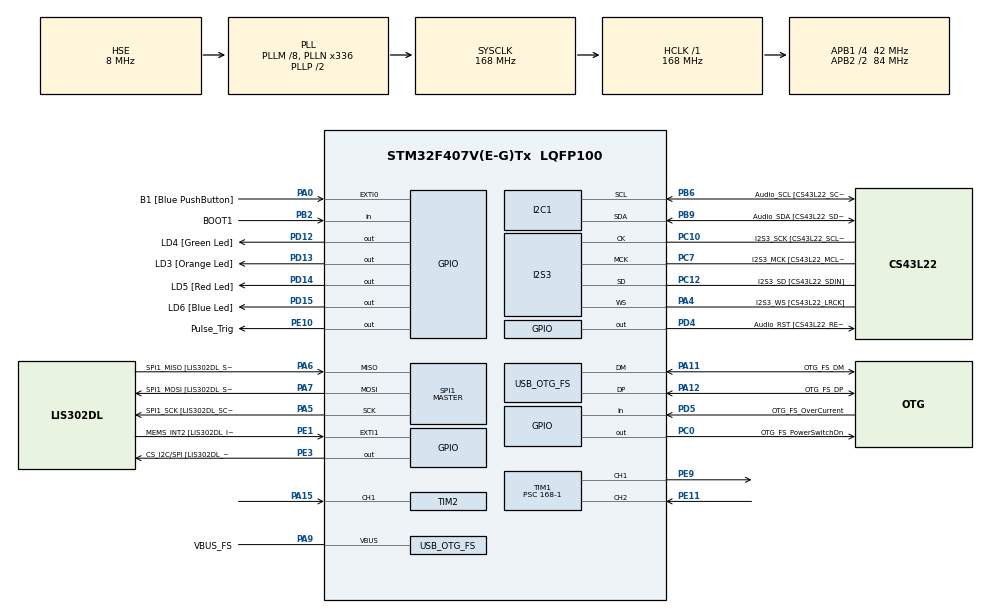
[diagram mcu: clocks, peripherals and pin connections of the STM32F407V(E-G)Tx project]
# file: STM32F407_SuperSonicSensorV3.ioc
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I2S3.AudioFreq-Half_Duplex_Master=I2S_AUDIOFREQ_96K
I2S3.ErrorAudioFreq=-2.34 %
I2S3.ErrorAudioFreq-Half_Duplex_Master=0.8 %
I2S3.FullDuplexMode=I2S_FULLDUPLEXMODE_DISABLE
I2S3.Instance=SPI$Index
I2S3.RealAudioFreq=93.75 KHz
I2S3.RealAudioFreq-Half_Duplex_Master=96.774 KHz
I2S3.VirtualMode=I2S_MODE_MASTER
Mcu.Family=STM32F4
Mcu.Name=STM32F407V(E-G)Tx
Mcu.Package=LQFP100
NVIC.OTG_FS_IRQn=true\:0\:0\:false\:false\:true\:true\:true\:true
NVIC.PriorityGroup=NVIC_PRIORITYGROUP_0
NVIC.TIM2_IRQn=true\:0\:0\:false\:false\:true\:true\:true\:true
PA0-WKUP.GPIO_Label=B1 [Blue PushButton]
PA0-WKUP.GPIO_ModeDefaultEXTI=GPIO_MODE_EVT_RISING
PA0-WKUP.GPIO_PuPd=GPIO_NOPULL
PA0-WKUP.Signal=GPXTI0
PA10.GPIO_Label=OTG_FS_ID
PA10.GPIO_Mode=GPIO_MODE_AF_PP
PA10.GPIO_PuPd=GPIO_NOPULL
PA10.GPIO_Speed=GPIO_SPEED_FREQ_LOW
PA10.Signal=USB_OTG_FS_ID
PA11.GPIO_Label=OTG_FS_DM
PA11.GPIO_Mode=GPIO_MODE_AF_PP
PA11.GPIO_PuPd=GPIO_NOPULL
PA11.GPIO_Speed=GPIO_SPEED_FREQ_LOW
PA11.Mode=Host_Only
PA11.Signal=USB_OTG_FS_DM
PA12.GPIO_Label=OTG_FS_DP
PA12.GPIO_Mode=GPIO_MODE_AF_PP
PA12.GPIO_PuPd=GPIO_NOPULL
PA12.GPIO_Speed=GPIO_SPEED_FREQ_LOW
PA12.Mode=Host_Only
PA12.Signal=USB_OTG_FS_DP
PA13.GPIO_Label=SWDIO
PA13.Mode=Serial_Wire
PA13.Signal=SYS_JTMS-SWDIO
PA14.GPIO_Label=SWCLK
PA14.Mode=Serial_Wire
PA14.Signal=SYS_JTCK-SWCLK
PA15.Signal=S_TIM2_CH1_ETR
PA4.GPIO_Label=I2S3_WS [CS43L22_LRCK]
PA4.GPIO_Mode=GPIO_MODE_AF_PP
PA4.GPIO_PuPd=GPIO_NOPULL
PA4.GPIO_Speed=GPIO_SPEED_FREQ_LOW
PA4.Mode=Half_Duplex_Master
PA4.Signal=I2S3_WS
PA5.GPIO_Label=SPI1_SCK [LIS302DL_SCL/SPC]
PA5.GPIO_Mode=GPIO_MODE_AF_PP
PA5.GPIO_PuPd=GPIO_NOPULL
PA5.GPIO_Speed=GPIO_SPEED_FREQ_LOW
PA5.Mode=Full_Duplex_Master
PA5.Signal=SPI1_SCK
PA6.GPIO_Label=SPI1_MISO [LIS302DL_SDO]
PA6.GPIO_Mode=GPIO_MODE_AF_PP
PA6.GPIO_PuPd=GPIO_NOPULL
PA6.GPIO_Speed=GPIO_SPEED_FREQ_LOW
PA6.Mode=Full_Duplex_Master
PA6.Signal=SPI1_MISO
PA7.GPIO_Label=SPI1_MOSI [LIS302DL_SDA/SDI/SDO]
PA7.GPIO_Mode=GPIO_MODE_AF_PP
PA7.GPIO_PuPd=GPIO_NOPULL
PA7.GPIO_Speed=GPIO_SPEED_FREQ_LOW
PA7.Mode=Full_Duplex_Master
PA7.Signal=SPI1_MOSI
PA9.GPIO_Label=VBUS_FS
PA9.GPIO_Mode=GPIO_MODE_INPUT
PA9.GPIO_PuPd=GPIO_NOPULL
PA9.Mode=Activate_VBUS
PA9.Signal=USB_OTG_FS_VBUS
PB10.GPIO_Label=CLK_IN [MP45DT02_CLK]
PB10.GPIO_Mode=GPIO_MODE_AF_PP
PB10.GPIO_PuPd=GPIO_NOPULL
PB10.GPIO_Speed=GPIO_SPEED_FREQ_LOW
PB10.Signal=I2S2_CK
PB2.GPIO_Label=BOOT1
PB2.GPIO_Mode=GPIO_MODE_INPUT
PB2.GPIO_PuPd=GPIO_NOPULL
PB2.Signal=GPIO_Input
PB3.GPIO_Label=SWO
PB3.Signal=SYS_JTDO-SWO
PB6.GPIO_Label=Audio_SCL [CS43L22_SCL]
PB6.GPIO_Mode=GPIO_MODE_AF_OD
PB6.GPIO_Pu=GPIO_PULLUP
PB6.GPIO_PuPd=GPIO_NOPULL
PB6.GPIO_Speed=GPIO_SPEED_FREQ_LOW
PB6.Mode=I2C
PB6.Signal=I2C1_SCL
PB9.GPIO_Label=Audio_SDA [CS43L22_SDA]
PB9.GPIO_Mode=GPIO_MODE_AF_OD
PB9.GPIO_Pu=GPIO_PULLUP
PB9.GPIO_PuPd=GPIO_NOPULL
PB9.GPIO_Speed=GPIO_SPEED_FREQ_LOW
PB9.Mode=I2C
PB9.Signal=I2C1_SDA
PC0.GPIO_Label=OTG_FS_PowerSwitchOn
PC0.GPIO_PuPd=GPIO_NOPULL
PC0.GPIO_Speed=GPIO_SPEED_FREQ_LOW
PC0.PinState=GPIO_PIN_SET
PC0.Signal=GPIO_Output
PC10.GPIO_Label=I2S3_SCK [CS43L22_SCLK]
PC10.GPIO_Mode=GPIO_MODE_AF_PP
PC10.GPIO_PuPd=GPIO_NOPULL
PC10.GPIO_Speed=GPIO_SPEED_FREQ_LOW
PC10.Mode=Half_Duplex_Master
PC10.Signal=I2S3_CK
PC12.GPIO_Label=I2S3_SD [CS43L22_SDIN]
PC12.GPIO_Mode=GPIO_MODE_AF_PP
PC12.GPIO_PuPd=GPIO_NOPULL
PC12.GPIO_Speed=GPIO_SPEED_FREQ_LOW
PC12.Mode=Half_Duplex_Master
PC12.Signal=I2S3_SD
PC14-OSC32_IN.GPIO_Label=PC14-OSC32_IN
PC14-OSC32_IN.Mode=LSE-External-Oscillator
PC14-OSC32_IN.Signal=RCC_OSC32_IN
PC15-OSC32_OUT.GPIO_Label=PC15-OSC32_OUT
PC15-OSC32_OUT.Mode=LSE-External-Oscillator
PC15-OSC32_OUT.Signal=RCC_OSC32_OUT
PC3.GPIO_Label=PDM_OUT [MP45DT02_DOUT]
PC3.GPIO_Mode=GPIO_MODE_AF_PP
PC3.GPIO_PuPd=GPIO_NOPULL
PC3.GPIO_Speed=GPIO_SPEED_FREQ_LOW
PC3.Signal=I2S2_SD
PC7.GPIO_Label=I2S3_MCK [CS43L22_MCLK]
PC7.GPIO_Mode=GPIO_MODE_AF_PP
PC7.GPIO_PuPd=GPIO_NOPULL
PC7.GPIO_Speed=GPIO_SPEED_FREQ_LOW
PC7.Mode=Master_Clock_Activated
PC7.Signal=I2S3_MCK
PD12.GPIO_Label=LD4 [Green Led]
PD12.GPIO_PuPd=GPIO_NOPULL
PD12.GPIO_Speed=GPIO_SPEED_FREQ_LOW
PD12.Signal=GPIO_Output
PD13.GPIO_Label=LD3 [Orange Led]
PD13.GPIO_PuPd=GPIO_NOPULL
PD13.GPIO_Speed=GPIO_SPEED_FREQ_LOW
PD13.Signal=GPIO_Output
PD14.GPIO_Label=LD5 [Red Led]
PD14.GPIO_PuPd=GPIO_NOPULL
PD14.GPIO_Speed=GPIO_SPEED_FREQ_LOW
PD14.Signal=GPIO_Output
PD15.GPIO_Label=LD6 [Blue Led]
PD15.GPIO_PuPd=GPIO_NOPULL
PD15.GPIO_Speed=GPIO_SPEED_FREQ_LOW
PD15.Signal=GPIO_Output
PD4.GPIO_Label=Audio_RST [CS43L22_RESET]
PD4.GPIO_PuPd=GPIO_NOPULL
PD4.GPIO_Speed=GPIO_SPEED_FREQ_LOW
PD4.Signal=GPIO_Output
PD5.GPIO_Label=OTG_FS_OverCurrent
PD5.GPIO_Mode=GPIO_MODE_INPUT
PD5.GPIO_PuPd=GPIO_NOPULL
PD5.Signal=GPIO_Input
PE1.GPIO_Label=MEMS_INT2 [LIS302DL_INT2]
PE1.GPIO_ModeDefaultEXTI=GPIO_MODE_EVT_RISING
PE1.GPIO_PuPd=GPIO_NOPULL
PE1.Signal=GPXTI1
PE10.GPIO_Label=Pulse_Trig
PE10.Signal=GPIO_Output
PE11.Signal=S_TIM1_CH2
PE3.GPIO_Label=CS_I2C/SPI [LIS302DL_CS_I2C/SPI]
PE3.GPIO_PuPd=GPIO_NOPULL
PE3.GPIO_Speed=GPIO_SPEED_FREQ_LOW
PE3.Signal=GPIO_Output
PE9.Signal=S_TIM1_CH1
PH0-OSC_IN.GPIO_Label=PH0-OSC_IN
PH0-OSC_IN.Mode=HSE-External-Oscillator
PH0-OSC_IN.Signal=RCC_OSC_IN
PH1-OSC_OUT.GPIO_Label=PH1-OSC_OUT
PH1-OSC_OUT.Mode=HSE-External-Oscillator
PH1-OSC_OUT.Signal=RCC_OSC_OUT
ProjectManager.HeapSize=0x200
ProjectManager.StackSize=0x400
ProjectManager.TargetToolchain=STM32CubeIDE
RCC.48MHZClocksFreq_Value=48000000
RCC.AHBFreq_Value=168000000
RCC.APB1CLKDivider=RCC_HCLK_DIV4
RCC.APB1Freq_Value=42000000
RCC.APB1TimFreq_Value=84000000
RCC.APB2CLKDivider=RCC_HCLK_DIV2
RCC.APB2Freq_Value=84000000
RCC.APB2TimFreq_Value=168000000
RCC.CortexFreq_Value=168000000
RCC.HCLKFreq_Value=168000000
RCC.HSE_VALUE=8000000
RCC.HSI_VALUE=16000000
RCC.PLLM=8
RCC.PLLN=336
RCC.PLLQ=7
RCC.SYSCLKFreq_VALUE=168000000
RCC.SYSCLKSource=RCC_SYSCLKSOURCE_PLLCLK
RCC.VCOOutputFreq_Value=336000000
SH.S_TIM1_CH1.0=TIM1_CH1,PWM Generation1 CH1
SH.S_TIM1_CH2.0=TIM1_CH2,TriggerSource_TI2FP2
SH.S_TIM2_CH1_ETR.0=TIM2_CH1,Input_Capture1_from_TI1
SPI1.BaudRatePrescaler-Full_Duplex_Master=SPI_BAUDRATEPRESCALER_2
SPI1.CalculateBaudRate-Full_Duplex_Master=42.0 MBits/s
SPI1.Direction=SPI_DIRECTION_2LINES
SPI1.Mode=SPI_MODE_MASTER
SPI1.Mode-Full_Duplex_Master=SPI_MODE_MASTER
SPI1.VirtualType=VM_MASTER
TIM1.Channel-PWM\ Generation1\ CH1=TIM_CHANNEL_1
TIM1.OCMode_PWM-PWM\ Generation1\ CH1=TIM_OCMODE_PWM2
TIM1.Period=50000-1
TIM1.Prescaler=168-1
TIM2.Channel-Input_Capture1_from_TI1=TIM_CHANNEL_1
TIM2.ICPolarity_CH1=TIM_INPUTCHANNELPOLARITY_BOTHEDGE
TIM2.Prescaler=83
USB_HOST.BSP.number=1
USB_HOST.USBH_HandleTypeDef-CDC_FS=hUsbHostFS
USB_HOST.VirtualModeFS=Cdc
USB_HOST0.BSP.STBoard=false
USB_HOST0.BSP.api=Unknown
USB_HOST0.BSP.instance=PC0
USB_HOST0.BSP.ip=GPIO
USB_HOST0.BSP.mode=Output
USB_HOST0.BSP.name=Drive_VBUS_FS
USB_HOST0.BSP.solution=PC0
USB_OTG_FS.VirtualMode=Host_Only
USB_OTG_FS.phy_itface=HCD_PHY_EMBEDDED
VP_TIM1_VS_ControllerModeTrigger.Mode=Trigger Mode
VP_TIM1_VS_OPM.Mode=OPM_bit
VP_USB_HOST_VS_USB_HOST_CDC_FS.Mode=CDC_FS
board=STM32F407G-DISC1

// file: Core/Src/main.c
/* USER CODE BEGIN Header */
/**
  ******************************************************************************
  * @file           : main.c
  * @brief          : Main program body
  ******************************************************************************
  * @attention
  *
  * Copyright (c) 2025 STMicroelectronics.
  * All rights reserved.
  *
  * This software is licensed under terms that can be found in the LICENSE file
  * in the root directory of this software component.
  * If no LICENSE file comes with this software, it is provided AS-IS.
  *
  ******************************************************************************
  */
/* USER CODE END Header */
#include "main.h"
#include "usb_host.h"

I2C_HandleTypeDef hi2c1;

I2S_HandleTypeDef hi2s3;

SPI_HandleTypeDef hspi1;

TIM_HandleTypeDef htim1;
TIM_HandleTypeDef htim2;

/* USER CODE BEGIN PV */
uint32_t gCaptureValue1 = 0;
uint32_t gCaptureValue2 = 0;
uint32_t gPeriod = 0;
uint8_t gCaptureFlag=0;
float gDistance = 0;
/* USER CODE END PV */

void SystemClock_Config(void);
static void MX_GPIO_Init(void);
static void MX_I2C1_Init(void);
static void MX_I2S3_Init(void);
static void MX_SPI1_Init(void);
static void MX_TIM1_Init(void);
static void MX_TIM2_Init(void);
void MX_USB_HOST_Process(void);

int main(void)
{

  /* MCU Configuration--------------------------------------------------------*/

  /* Reset of all peripherals, Initializes the Flash interface and the Systick. */
  HAL_Init();

  /* Configure the system clock */
  SystemClock_Config();

  /* Initialize all configured peripherals */
  MX_GPIO_Init();
  MX_I2C1_Init();
  MX_I2S3_Init();
  MX_SPI1_Init();
  MX_USB_HOST_Init();
  MX_TIM1_Init();
  MX_TIM2_Init();
  /* USER CODE BEGIN 2 */
HAL_TIM_IC_Start_IT(&htim2, TIM_CHANNEL_1);
HAL_TIM_OnePulse_Start(&htim1, TIM_CHANNEL_1);

HAL_GPIO_WritePin(Pulse_Trig_GPIO_Port, Pulse_Trig_Pin, GPIO_PIN_RESET);
HAL_Delay(1000);
HAL_GPIO_WritePin(Pulse_Trig_GPIO_Port, Pulse_Trig_Pin, GPIO_PIN_SET);

  /* USER CODE END 2 */

  /* Infinite loop */
  /* USER CODE BEGIN WHILE */
  while (1)
  {
	  HAL_GPIO_WritePin(Pulse_Trig_GPIO_Port, Pulse_Trig_Pin, GPIO_PIN_RESET);
	  HAL_Delay(1000);
	  HAL_GPIO_WritePin(Pulse_Trig_GPIO_Port, Pulse_Trig_Pin, GPIO_PIN_SET);
    /* USER CODE END WHILE */
    MX_USB_HOST_Process();

  }
}

void SystemClock_Config(void)
{
  RCC_OscInitTypeDef RCC_OscInitStruct = {0};
  RCC_ClkInitTypeDef RCC_ClkInitStruct = {0};

  /** Configure the main internal regulator output voltage
  */
  __HAL_RCC_PWR_CLK_ENABLE();
  __HAL_PWR_VOLTAGESCALING_CONFIG(PWR_REGULATOR_VOLTAGE_SCALE1);

  /** Initializes the RCC Oscillators according to the specified parameters
  * in the RCC_OscInitTypeDef structure.
  */
  RCC_OscInitStruct.OscillatorType = RCC_OSCILLATORTYPE_HSE;
  RCC_OscInitStruct.HSEState = RCC_HSE_ON;
  RCC_OscInitStruct.PLL.PLLState = RCC_PLL_ON;
  RCC_OscInitStruct.PLL.PLLSource = RCC_PLLSOURCE_HSE;
  RCC_OscInitStruct.PLL.PLLM = 8;
  RCC_OscInitStruct.PLL.PLLN = 336;
  RCC_OscInitStruct.PLL.PLLP = RCC_PLLP_DIV2;
  RCC_OscInitStruct.PLL.PLLQ = 7;
  if (HAL_RCC_OscConfig(&RCC_OscInitStruct) != HAL_OK)
  {
    Error_Handler();
  }

  /** Initializes the CPU, AHB and APB buses clocks
  */
  RCC_ClkInitStruct.ClockType = RCC_CLOCKTYPE_HCLK|RCC_CLOCKTYPE_SYSCLK
                              |RCC_CLOCKTYPE_PCLK1|RCC_CLOCKTYPE_PCLK2;
  RCC_ClkInitStruct.SYSCLKSource = RCC_SYSCLKSOURCE_PLLCLK;
  RCC_ClkInitStruct.AHBCLKDivider = RCC_SYSCLK_DIV1;
  RCC_ClkInitStruct.APB1CLKDivider = RCC_HCLK_DIV4;
  RCC_ClkInitStruct.APB2CLKDivider = RCC_HCLK_DIV2;

  if (HAL_RCC_ClockConfig(&RCC_ClkInitStruct, FLASH_LATENCY_5) != HAL_OK)
  {
    Error_Handler();
  }
}

static void MX_I2C1_Init(void)
{

  hi2c1.Instance = I2C1;
  hi2c1.Init.ClockSpeed = 100000;
  hi2c1.Init.DutyCycle = I2C_DUTYCYCLE_2;
  hi2c1.Init.OwnAddress1 = 0;
  hi2c1.Init.AddressingMode = I2C_ADDRESSINGMODE_7BIT;
  hi2c1.Init.DualAddressMode = I2C_DUALADDRESS_DISABLE;
  hi2c1.Init.OwnAddress2 = 0;
  hi2c1.Init.GeneralCallMode = I2C_GENERALCALL_DISABLE;
  hi2c1.Init.NoStretchMode = I2C_NOSTRETCH_DISABLE;
  if (HAL_I2C_Init(&hi2c1) != HAL_OK)
  {
    Error_Handler();
  }

}

static void MX_I2S3_Init(void)
{

  hi2s3.Instance = SPI3;
  hi2s3.Init.Mode = I2S_MODE_MASTER_TX;
  hi2s3.Init.Standard = I2S_STANDARD_PHILIPS;
  hi2s3.Init.DataFormat = I2S_DATAFORMAT_16B;
  hi2s3.Init.MCLKOutput = I2S_MCLKOUTPUT_ENABLE;
  hi2s3.Init.AudioFreq = I2S_AUDIOFREQ_96K;
  hi2s3.Init.CPOL = I2S_CPOL_LOW;
  hi2s3.Init.ClockSource = I2S_CLOCK_PLL;
  hi2s3.Init.FullDuplexMode = I2S_FULLDUPLEXMODE_DISABLE;
  if (HAL_I2S_Init(&hi2s3) != HAL_OK)
  {
    Error_Handler();
  }

}

static void MX_SPI1_Init(void)
{

  /* SPI1 parameter configuration*/
  hspi1.Instance = SPI1;
  hspi1.Init.Mode = SPI_MODE_MASTER;
  hspi1.Init.Direction = SPI_DIRECTION_2LINES;
  hspi1.Init.DataSize = SPI_DATASIZE_8BIT;
  hspi1.Init.CLKPolarity = SPI_POLARITY_LOW;
  hspi1.Init.CLKPhase = SPI_PHASE_1EDGE;
  hspi1.Init.NSS = SPI_NSS_SOFT;
  hspi1.Init.BaudRatePrescaler = SPI_BAUDRATEPRESCALER_2;
  hspi1.Init.FirstBit = SPI_FIRSTBIT_MSB;
  hspi1.Init.TIMode = SPI_TIMODE_DISABLE;
  hspi1.Init.CRCCalculation = SPI_CRCCALCULATION_DISABLE;
  hspi1.Init.CRCPolynomial = 10;
  if (HAL_SPI_Init(&hspi1) != HAL_OK)
  {
    Error_Handler();
  }

}

static void MX_TIM1_Init(void)
{

  TIM_SlaveConfigTypeDef sSlaveConfig = {0};
  TIM_MasterConfigTypeDef sMasterConfig = {0};
  TIM_OC_InitTypeDef sConfigOC = {0};
  TIM_BreakDeadTimeConfigTypeDef sBreakDeadTimeConfig = {0};

  htim1.Instance = TIM1;
  htim1.Init.Prescaler = 168-1;
  htim1.Init.CounterMode = TIM_COUNTERMODE_UP;
  htim1.Init.Period = 50000-1;
  htim1.Init.ClockDivision = TIM_CLOCKDIVISION_DIV1;
  htim1.Init.RepetitionCounter = 0;
  htim1.Init.AutoReloadPreload = TIM_AUTORELOAD_PRELOAD_DISABLE;
  if (HAL_TIM_Base_Init(&htim1) != HAL_OK)
  {
    Error_Handler();
  }
  if (HAL_TIM_PWM_Init(&htim1) != HAL_OK)
  {
    Error_Handler();
  }
  if (HAL_TIM_OnePulse_Init(&htim1, TIM_OPMODE_SINGLE) != HAL_OK)
  {
    Error_Handler();
  }
  sSlaveConfig.SlaveMode = TIM_SLAVEMODE_TRIGGER;
  sSlaveConfig.InputTrigger = TIM_TS_TI2FP2;
  sSlaveConfig.TriggerPolarity = TIM_TRIGGERPOLARITY_RISING;
  sSlaveConfig.TriggerFilter = 0;
  if (HAL_TIM_SlaveConfigSynchro(&htim1, &sSlaveConfig) != HAL_OK)
  {
    Error_Handler();
  }
  sMasterConfig.MasterOutputTrigger = TIM_TRGO_RESET;
  sMasterConfig.MasterSlaveMode = TIM_MASTERSLAVEMODE_DISABLE;
  if (HAL_TIMEx_MasterConfigSynchronization(&htim1, &sMasterConfig) != HAL_OK)
  {
    Error_Handler();
  }
  sConfigOC.OCMode = TIM_OCMODE_PWM2;
  sConfigOC.Pulse = 0;
  sConfigOC.OCPolarity = TIM_OCPOLARITY_HIGH;
  sConfigOC.OCNPolarity = TIM_OCNPOLARITY_HIGH;
  sConfigOC.OCFastMode = TIM_OCFAST_DISABLE;
  sConfigOC.OCIdleState = TIM_OCIDLESTATE_RESET;
  sConfigOC.OCNIdleState = TIM_OCNIDLESTATE_RESET;
  if (HAL_TIM_PWM_ConfigChannel(&htim1, &sConfigOC, TIM_CHANNEL_1) != HAL_OK)
  {
    Error_Handler();
  }
  sBreakDeadTimeConfig.OffStateRunMode = TIM_OSSR_DISABLE;
  sBreakDeadTimeConfig.OffStateIDLEMode = TIM_OSSI_DISABLE;
  sBreakDeadTimeConfig.LockLevel = TIM_LOCKLEVEL_OFF;
  sBreakDeadTimeConfig.DeadTime = 0;
  sBreakDeadTimeConfig.BreakState = TIM_BREAK_DISABLE;
  sBreakDeadTimeConfig.BreakPolarity = TIM_BREAKPOLARITY_HIGH;
  sBreakDeadTimeConfig.AutomaticOutput = TIM_AUTOMATICOUTPUT_DISABLE;
  if (HAL_TIMEx_ConfigBreakDeadTime(&htim1, &sBreakDeadTimeConfig) != HAL_OK)
  {
    Error_Handler();
  }
  HAL_TIM_MspPostInit(&htim1);

}

static void MX_TIM2_Init(void)
{

  TIM_MasterConfigTypeDef sMasterConfig = {0};
  TIM_IC_InitTypeDef sConfigIC = {0};

  htim2.Instance = TIM2;
  htim2.Init.Prescaler = 83;
  htim2.Init.CounterMode = TIM_COUNTERMODE_UP;
  htim2.Init.Period = 4294967295;
  htim2.Init.ClockDivision = TIM_CLOCKDIVISION_DIV1;
  htim2.Init.AutoReloadPreload = TIM_AUTORELOAD_PRELOAD_DISABLE;
  if (HAL_TIM_IC_Init(&htim2) != HAL_OK)
  {
    Error_Handler();
  }
  sMasterConfig.MasterOutputTrigger = TIM_TRGO_RESET;
  sMasterConfig.MasterSlaveMode = TIM_MASTERSLAVEMODE_DISABLE;
  if (HAL_TIMEx_MasterConfigSynchronization(&htim2, &sMasterConfig) != HAL_OK)
  {
    Error_Handler();
  }
  sConfigIC.ICPolarity = TIM_INPUTCHANNELPOLARITY_BOTHEDGE;
  sConfigIC.ICSelection = TIM_ICSELECTION_DIRECTTI;
  sConfigIC.ICPrescaler = TIM_ICPSC_DIV1;
  sConfigIC.ICFilter = 0;
  if (HAL_TIM_IC_ConfigChannel(&htim2, &sConfigIC, TIM_CHANNEL_1) != HAL_OK)
  {
    Error_Handler();
  }

}

static void MX_GPIO_Init(void)
{
  GPIO_InitTypeDef GPIO_InitStruct = {0};

  /* GPIO Ports Clock Enable */
  __HAL_RCC_GPIOE_CLK_ENABLE();
  __HAL_RCC_GPIOC_CLK_ENABLE();
  __HAL_RCC_GPIOH_CLK_ENABLE();
  __HAL_RCC_GPIOA_CLK_ENABLE();
  __HAL_RCC_GPIOB_CLK_ENABLE();
  __HAL_RCC_GPIOD_CLK_ENABLE();

  /*Configure GPIO pin Output Level */
  HAL_GPIO_WritePin(GPIOE, CS_I2C_SPI_Pin|Pulse_Trig_Pin, GPIO_PIN_RESET);

  /*Configure GPIO pin Output Level */
  HAL_GPIO_WritePin(OTG_FS_PowerSwitchOn_GPIO_Port, OTG_FS_PowerSwitchOn_Pin, GPIO_PIN_SET);

  /*Configure GPIO pin Output Level */
  HAL_GPIO_WritePin(GPIOD, LD4_Pin|LD3_Pin|LD5_Pin|LD6_Pin
                          |Audio_RST_Pin, GPIO_PIN_RESET);

  /*Configure GPIO pins : CS_I2C_SPI_Pin Pulse_Trig_Pin */
  GPIO_InitStruct.Pin = CS_I2C_SPI_Pin|Pulse_Trig_Pin;
  GPIO_InitStruct.Mode = GPIO_MODE_OUTPUT_PP;
  GPIO_InitStruct.Pull = GPIO_NOPULL;
  GPIO_InitStruct.Speed = GPIO_SPEED_FREQ_LOW;
  HAL_GPIO_Init(GPIOE, &GPIO_InitStruct);

  /*Configure GPIO pin : OTG_FS_PowerSwitchOn_Pin */
  GPIO_InitStruct.Pin = OTG_FS_PowerSwitchOn_Pin;
  GPIO_InitStruct.Mode = GPIO_MODE_OUTPUT_PP;
  GPIO_InitStruct.Pull = GPIO_NOPULL;
  GPIO_InitStruct.Speed = GPIO_SPEED_FREQ_LOW;
  HAL_GPIO_Init(OTG_FS_PowerSwitchOn_GPIO_Port, &GPIO_InitStruct);

  /*Configure GPIO pin : PDM_OUT_Pin */
  GPIO_InitStruct.Pin = PDM_OUT_Pin;
  GPIO_InitStruct.Mode = GPIO_MODE_AF_PP;
  GPIO_InitStruct.Pull = GPIO_NOPULL;
  GPIO_InitStruct.Speed = GPIO_SPEED_FREQ_LOW;
  GPIO_InitStruct.Alternate = GPIO_AF5_SPI2;
  HAL_GPIO_Init(PDM_OUT_GPIO_Port, &GPIO_InitStruct);

  /*Configure GPIO pin : B1_Pin */
  GPIO_InitStruct.Pin = B1_Pin;
  GPIO_InitStruct.Mode = GPIO_MODE_EVT_RISING;
  GPIO_InitStruct.Pull = GPIO_NOPULL;
  HAL_GPIO_Init(B1_GPIO_Port, &GPIO_InitStruct);

  /*Configure GPIO pin : BOOT1_Pin */
  GPIO_InitStruct.Pin = BOOT1_Pin;
  GPIO_InitStruct.Mode = GPIO_MODE_INPUT;
  GPIO_InitStruct.Pull = GPIO_NOPULL;
  HAL_GPIO_Init(BOOT1_GPIO_Port, &GPIO_InitStruct);

  /*Configure GPIO pin : CLK_IN_Pin */
  GPIO_InitStruct.Pin = CLK_IN_Pin;
  GPIO_InitStruct.Mode = GPIO_MODE_AF_PP;
  GPIO_InitStruct.Pull = GPIO_NOPULL;
  GPIO_InitStruct.Speed = GPIO_SPEED_FREQ_LOW;
  GPIO_InitStruct.Alternate = GPIO_AF5_SPI2;
  HAL_GPIO_Init(CLK_IN_GPIO_Port, &GPIO_InitStruct);

  /*Configure GPIO pins : LD4_Pin LD3_Pin LD5_Pin LD6_Pin
                           Audio_RST_Pin */
  GPIO_InitStruct.Pin = LD4_Pin|LD3_Pin|LD5_Pin|LD6_Pin
                          |Audio_RST_Pin;
  GPIO_InitStruct.Mode = GPIO_MODE_OUTPUT_PP;
  GPIO_InitStruct.Pull = GPIO_NOPULL;
  GPIO_InitStruct.Speed = GPIO_SPEED_FREQ_LOW;
  HAL_GPIO_Init(GPIOD, &GPIO_InitStruct);

  /*Configure GPIO pin : OTG_FS_OverCurrent_Pin */
  GPIO_InitStruct.Pin = OTG_FS_OverCurrent_Pin;
  GPIO_InitStruct.Mode = GPIO_MODE_INPUT;
  GPIO_InitStruct.Pull = GPIO_NOPULL;
  HAL_GPIO_Init(OTG_FS_OverCurrent_GPIO_Port, &GPIO_InitStruct);

  /*Configure GPIO pin : MEMS_INT2_Pin */
  GPIO_InitStruct.Pin = MEMS_INT2_Pin;
  GPIO_InitStruct.Mode = GPIO_MODE_EVT_RISING;
  GPIO_InitStruct.Pull = GPIO_NOPULL;
  HAL_GPIO_Init(MEMS_INT2_GPIO_Port, &GPIO_InitStruct);

}

/* USER CODE BEGIN 4 */
void HAL_TIM_IC_CaptureCallback(TIM_HandleTypeDef *htim)	{
	if (htim->Instance == 0)	{
		gCaptureValue1 = HAL_TIM_ReadCapturedValue(htim, TIM_CHANNEL_1);
		gCaptureFlag = 1;
	}
	else if (gCaptureFlag == 1)	{
		gCaptureValue2 = HAL_TIM_ReadCapturedValue(htim, TIM_CHANNEL_1);
		if (gCaptureValue2 > gCaptureValue1)	{
			gPeriod = gCaptureValue2 - gCaptureValue1;
		}
		else	{
			gPeriod = (0xFFFF - gCaptureValue1) + gCaptureValue2 + 1;
		}
		gCaptureFlag = 0;
		gDistance =(float)gPeriod/58;
	}
}
/* USER CODE END 4 */

void Error_Handler(void)
{
  __disable_irq();
  while (1)
  {
  }
}
